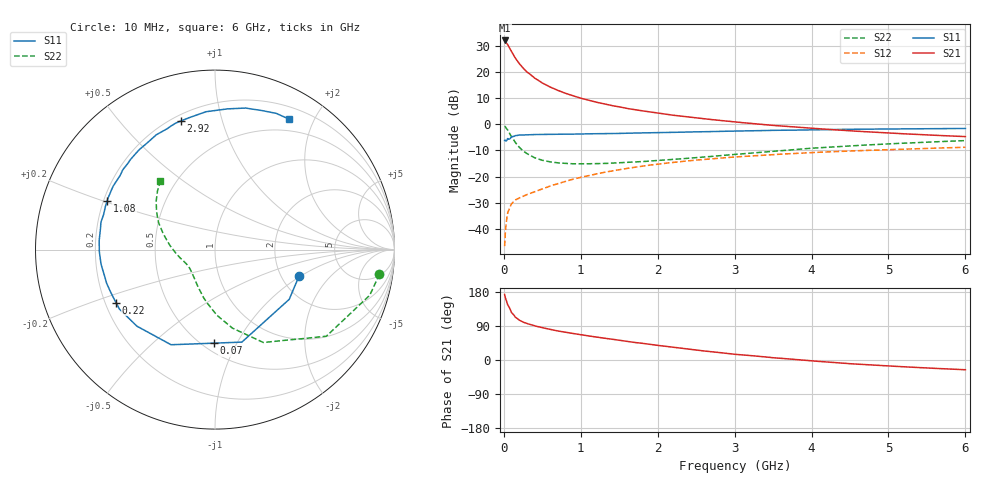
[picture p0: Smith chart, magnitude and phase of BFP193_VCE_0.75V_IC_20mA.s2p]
! Infineon Technologies  Discrete & RF Semiconductors
! BFP193
! VCE = 0.75V,  IC =  20 mA
! Common Emitter S-Parameters:  Jan 2016
# GHz  S  MA  R  50
!  f  S11  S21  S12  S22
! GHz  MAG  ANG  MAG  ANG  MAG  ANG  MAG  ANG
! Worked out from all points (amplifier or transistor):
!   210 points, 10 MHz to 6 GHz, reference 50 ohm
!   highest |S21| = 32.2 dB at 10 MHz (marker M1)
!   |S21| within 3 dB of that: start of sweep to 75.74 MHz
!   unconditionally stable (mu >= 1): 647.6 MHz to 4.484 GHz; 4.546 GHz to 4.919 GHz
!   at 185 MHz: K = 0.51, MSG = 26.3 dB, |S12| = -28.5 dB
!   at 1.52 GHz: K = 1.11, MAG = 10.0 dB, |S12| = -17.3 dB
!   at 6 GHz: K = 0.98, MSG = 2.0 dB, |S12| = -8.8 dB
!   S11 on the Smith chart (normalised r, x): 10 MHz: 2.50, -0.97; 70 MHz: 0.57, -0.81; 220 MHz: 0.24, -0.24; 1.08 GHz: 0.21, +0.21; 2.92 GHz: 0.23, +0.74; 6 GHz: 0.35, +1.67
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0.01  0.4909 -17.4  40.93 172.8  0.0046 85.2  0.9265 -8.5
0.02  0.4978 -33.8  39.38 164.2  0.0087 77.9  0.8992 -16.4
0.05  0.5367 -73.8  34.16 145.6  0.02 63.9  0.786 -37.9
0.07  0.5213 -90.9  30.06 138.9  0.0238 57.1  0.6906 -46.0
0.1  0.5839 -114.8  25 125.0  0.03 50.3  0.5834 -62.5
0.15  0.6094 -135.6  18.66 112.9  0.0355 45.5  0.448 -77.5
0.2  0.6273 -148.1  14.78 105.3  0.0387 44.8  0.3654 -88.4
0.22  0.6256 -151.8  13.67 103.4  0.0399 44.8  0.3421 -91.4
0.26  0.6283 -158.4  11.66 99.2  0.0423 45.1  0.3024 -98.0
0.3  0.6322 -162.8  10.18 96.0  0.045 46.0  0.276 -103.2
0.4  0.6402 -172.9  7.772 90.0  0.0509 48.6  0.2294 -114.1
0.5  0.6447 -179.1  6.244 85.2  0.0578 50.8  0.205 -122.3
0.7  0.6479 170.3  4.52 76.6  0.0726 53.6  0.1833 -133.9
1.02  0.6573 157.6  3.136 66.1  0.0979 54.5  0.1751 -145.9
1.08  0.6599 155.7  2.969 64.2  0.1024 54.5  0.1754 -147.7
1.4  0.6688 145.3  2.305 55.0  0.1274 52.5  0.1804 -155.3
2.02  0.6985 127.3  1.63 38.1  0.1741 46.3  0.204 -168.8
2.92  0.7417 104.9  1.149 17.0  0.2321 35.4  0.2595 172.7
3.1  0.7485 101.3  1.083 13.5  0.2421 33.1  0.2724 169.2
4.1  0.7901 83.5  0.824 -3.8  0.2926 21.2  0.3567 152.7
5.1  0.8195 70.3  0.672 -16.8  0.3317 10.2  0.4301 139.4
6  0.8359 60.4  0.584 -25.7  0.3644 0.6  0.4892 128.4
